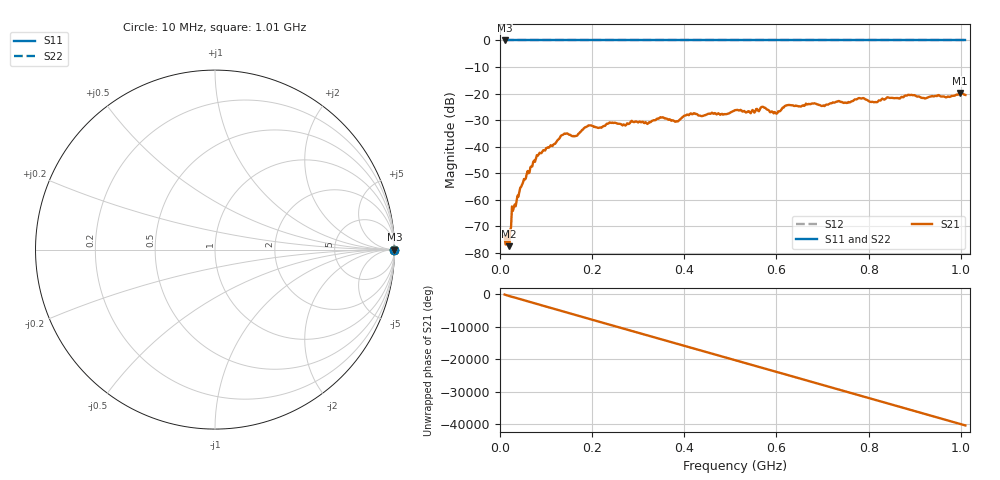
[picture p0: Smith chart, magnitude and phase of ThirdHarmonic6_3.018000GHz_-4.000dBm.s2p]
! 8/17/2025 8:40:33 AM
! C:\ANRITSUVNA\TEMP\TEMP.S2P
! CHANNEL.1
! TR.MEASUREMENT
! RAW.DATA
! RF.CORRECTION.OFF
! AVERAGING.OFF
! IF.BANDWIDTH: 5KHZ
! SWEEPTYPE:  FREQ.SWEEP(Linear)
! Reference Plane Port Info
! PORT:  PORT1  PORT2
! DISTANCE:  0  m  0  m
! TIME:  0  s  0  s
! PHASE.OFFSET:  0  deg.  0  deg.
! LOSS:  0  dB  0  dB
! REF.LOSS:  0  dB  0  dB
! REF.FREQ:  0  Hz  0  Hz
! Power Info
! POWER:  -20  dBm  -20  dBm
! EFF.POWER:  -20  dBm  -20  dBm
! SOURCE.ATTEN:  0  dB  0  dB
! TEST.ATTEN:  0  dB  0  dB
# GHZ S RI R 50.0
! FREQ.GHZ  S11RE  S11IM  S21RE  S21IM  S12RE  S12IM  S22RE  S22IM
!; PortSelection: Port_12
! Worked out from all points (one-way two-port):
!   501 points, 10 MHz to 1.01 GHz, reference 50 ohm
!   highest |S21| = -19.83 dB at 998 MHz (marker M1); lowest = -77.5 dB at 20 MHz (marker M2)
!   lowest |S11| = 0.0 dB at 10 MHz (marker M3)
!   |S11| at or under -10 dB: nowhere
!   |S22| runs from 0.0 to 0.0 dB; largest |S21 - S12| = 1.1
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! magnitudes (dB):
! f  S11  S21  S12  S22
! 10 MHz  0.0  -73.7  0.0  0.0
! 16 MHz  0.0  -73.5  0.0  0.0
! 20 MHz  0.0  -77.5  0.0  0.0
! 30 MHz  0.0  -62.9  0.0  0.0
! 48 MHz  0.0  -54.3  0.0  0.0
! 82 MHz  0.0  -43.5  0.0  0.0
! 136 MHz  0.0  -35.6  0.0  0.0
! 164 MHz  0.0  -36.0  0.0  0.0
! 178 MHz  0.0  -33.7  0.0  0.0
! 194 MHz  0.0  -32.0  0.0  0.0
! 322 MHz  0.0  -31.1  0.0  0.0
! 344 MHz  0.0  -29.5  0.0  0.0
! 384 MHz  0.0  -30.4  0.0  0.0
! 416 MHz  0.0  -27.8  0.0  0.0
! 510 MHz  0.0  -26.3  0.0  0.0
! 570 MHz  0.0  -25.0  0.0  0.0
! 598 MHz  0.0  -27.3  0.0  0.0
! 622 MHz  0.0  -24.5  0.0  0.0
! 678 MHz  0.0  -23.8  0.0  0.0
! 844 MHz  0.0  -21.6  0.0  0.0
! 998 MHz  0.0  -19.8  0.0  0.0
! 1.01 GHz  0.0  -20.5  0.0  0.0
